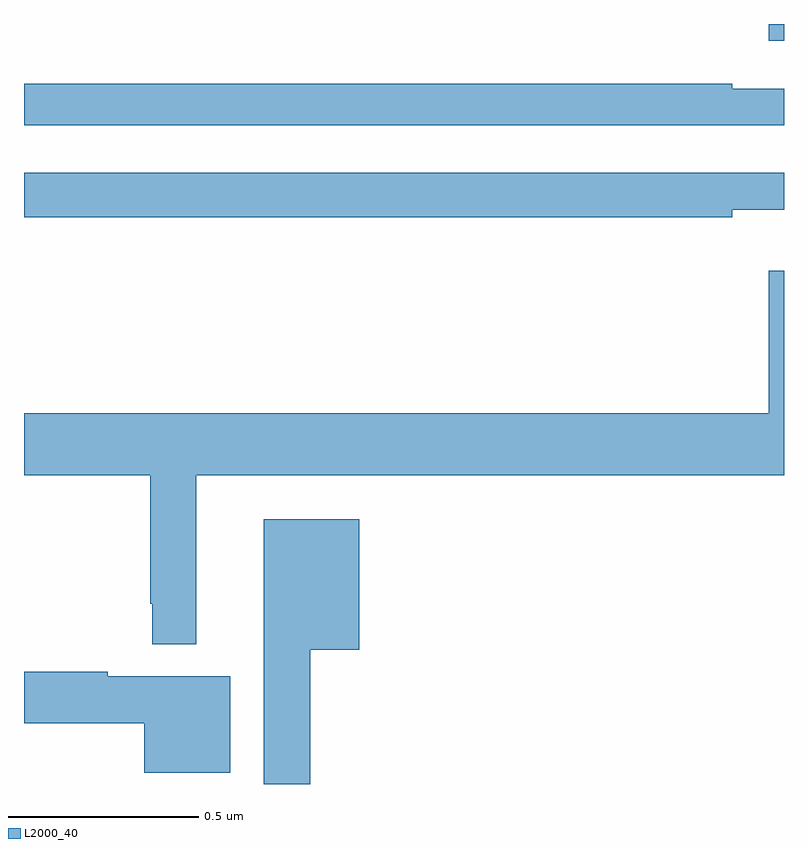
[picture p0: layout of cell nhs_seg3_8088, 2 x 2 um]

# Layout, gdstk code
import gdstk
lib = gdstk.Library(unit=1e-6, precision=1e-09)
def R(c, l, rs):  # rectangles x0, y0, x1, y1
    for r in rs: c.add(gdstk.rectangle(r[:2], r[2:], *l))
def P(c, l, *ps):  # polygons
    for p in ps: c.add(gdstk.Polygon(p, *l))
L2000_40 = (2000, 40)

nhs_seg3_8088 = lib.new_cell('nhs_seg3_8088')
R(nhs_seg3_8088, L2000_40, [(212.96,739.356,213,739.4)])
P(nhs_seg3_8088, L2000_40, [(213,739.23),(212.864,739.23),(212.864,739.243),(211,739.243),(211,739.134),(213,739.134)],
  [(212.864,738.911),(213,738.911),(213,739.008),(211,739.008),(211,738.892),(212.864,738.892)],
  [(211.453,738.212),(213,738.212),(213,738.751),(212.96,738.751),(212.96,738.376),(211,738.376),(211,738.212),(211.332,738.212),(211.332,737.875),(211.338,737.875),(211.338,737.768),(211.453,737.768)],
  [(211.753,737.753),(211.882,737.753),(211.882,738.097),(211.631,738.097),(211.631,737.4),(211.753,737.4)],
  [(211.543,737.683),(211.22,737.683),(211.22,737.696),(211,737.696),(211,737.56),(211.316,737.56),(211.316,737.429),(211.543,737.429)])

lib.write_gds('nhs_seg3_8088.gds')
